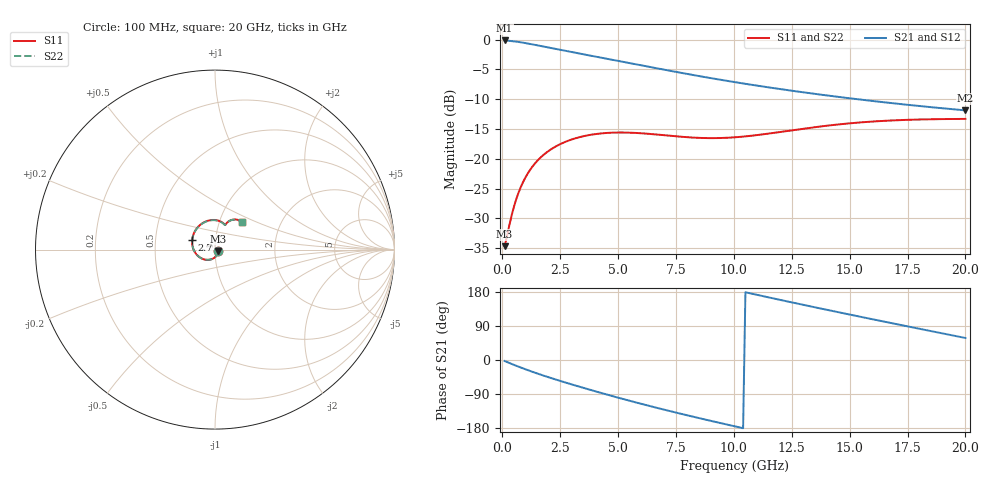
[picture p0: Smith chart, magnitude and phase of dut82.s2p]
! Touchstone file exported from HFSS 2023.1.0
!  File:  D:/Users/fzz/RDL_TSV/temp_RDL_TSV_82_1778747783.aedt
!  Generated:  4:46:58 %x4E0B%x5348  5%x6708 14, 2026
!  Design:  RDL_TSV
!  Project:  temp_RDL_TSV_82_1778747783
!  Setup:  Setup1
!  Solution:  Sweep
! Variables:
!  dtsv = 16.15um
!  hbump = 3um
!  htsv = 83.93um
!  ldown = 581.53um
!  lrdl = 665.95um
!  p = 40
!  p1 = 40.72um
!  rhole = 10um
!  subl = 4408.39um
!  t = 450um
!  tdown = 4.88um
!  trdl = 3.09um
!  viad = 10um
!  wdown = 21.5um
!  wrdl = 28.04um
!  xbump = 18um
# GHz S MA R 50.000000
! Terminal data exported
! Port[1] = TM1_1_T1
! Port[2] = TM1_4_T1
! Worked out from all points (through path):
!   200 points, 100 MHz to 20 GHz, reference 50 ohm
!   highest |S21| = -0.16 dB at 100 MHz (marker M1); lowest = -11.9 dB at 20 GHz (marker M2)
!   group delay of S21, straight-line fit = 40.2 ps
!   lowest |S11| = -34.7 dB at 100 MHz (marker M3), VSWR 1.04, Z = 51.7 - j0.742 ohm
!   |S11| at or under -10 dB: start of sweep to end of sweep
!   |S22| runs from -34.7 to -13.4 dB; largest |S21 - S12| = 1e-14
!   S11 on the Smith chart (normalised r, x): 100 MHz: 1.03, -0.01; 2.7 GHz: 0.77, +0.08; 20 GHz: 1.28, +0.41
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0.1  0.01847 -22.8  0.9817 -2.7  0.9817 -2.7  0.01848 -22.8
! Gamma 0 0 0 0
! Port Impedance 50 0 50 0
0.5  0.03939 -84.6  0.9654 -12.7  0.9654 -12.7  0.03941 -84.6
0.7  0.05183 -103.1  0.9538 -17.5  0.9538 -17.5  0.05185 -103.0
1  0.06966 -124.8  0.9332 -24.5  0.9332 -24.5  0.06967 -124.7
1.3  0.0858 -142.8  0.9101 -31.2  0.9101 -31.2  0.08577 -142.6
1.7  0.1044 -163.1  0.8783 -39.5  0.8783 -39.5  0.1043 -163.0
2.2  0.1233 175.3  0.8399 -49.5  0.8399 -49.5  0.1231 175.5
2.7  0.138 157.1  0.804 -58.9  0.804 -58.9  0.1377 157.2
3.5  0.1544 133.0  0.7513 -73.5  0.7513 -73.5  0.1538 133.2
4.3  0.1633 113.8  0.7024 -87.5  0.7024 -87.5  0.1625 114.0
5.2  0.1659 97.0  0.6506 -102.7  0.6506 -102.7  0.165 97.2
6  0.1636 85.7  0.6074 -115.7  0.6074 -115.7  0.1625 85.9
6.8  0.1588 77.5  0.5673 -128.2  0.5673 -128.2  0.1577 77.7
7.5  0.1542 72.7  0.535 -138.8  0.535 -138.8  0.1531 72.9
8.3  0.1502 69.4  0.5012 -150.5  0.5012 -150.5  0.1492 69.6
10.1  0.1516 67.1  0.4371 -175.8  0.4371 -175.8  0.1506 67.3
11.8  0.1655 65.7  0.3889 161.3  0.3889 161.3  0.1645 65.9
13.4  0.1829 62.4  0.352 140.4  0.352 140.4  0.1817 62.6
15  0.1981 57.9  0.3214 119.9  0.3214 119.9  0.1967 58.0
16.7  0.2089 52.8  0.2943 98.6  0.2943 98.6  0.2071 52.9
18.3  0.2139 48.6  0.2732 78.9  0.2732 78.9  0.2119 48.8
20  0.2158 45.4  0.2545 58.1  0.2545 58.1  0.2136 45.7
